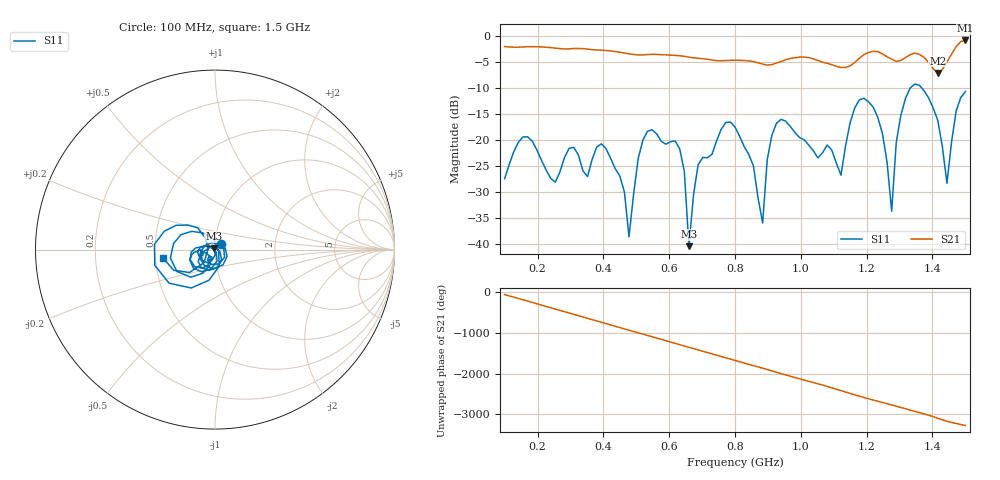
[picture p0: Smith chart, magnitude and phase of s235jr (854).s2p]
! NanoVNA-App
! Date: 2025-09-25 15:10:49
! Start: 100MHz Stop: 1,5GHz Points: 101
! S-Parameter data: F S11 S21 S12 S22
# Hz S RI R 50
!  Frequency  S11_Real  S11_Imag  S21_Real  S21_Imag  S12_Real  S12_Imag  S22_Real  S22_Imag
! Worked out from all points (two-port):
!   101 points, 100 MHz to 1.5 GHz, reference 50 ohm
!   highest |S21| = -0.78 dB at 1.5 GHz (marker M1); lowest = -7.0 dB at 1.416 GHz (marker M2)
!   |S21| within 3 dB of the highest: start of sweep to 637 MHz; 1.186 GHz to 1.258 GHz (71.79 MHz wide, 5.87 % of centre) (the widest 2 of 4)
!   lowest |S11| = -40.5 dB at 660 MHz (marker M3), VSWR 1.02, Z = 49.3 + j0.604 ohm
!   |S11| at or under -10 dB: start of sweep to 1.332 GHz; 1.368 GHz to end of sweep
!   S12 and S22 are empty: the file has one direction only
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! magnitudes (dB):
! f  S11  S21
! 100 MHz  -27.5  -2.0
! 156 MHz  -19.4  -2.0
! 338 MHz  -25.9  -2.4
! 408 MHz  -21.7  -2.7
! 478 MHz  -38.7  -3.4
! 520 MHz  -20.0  -3.6
! 576 MHz  -20.3  -3.5
! 632 MHz  -21.7  -3.7
! 660 MHz  -40.5  -4.0
! 688 MHz  -24.8  -4.2
! 800 MHz  -17.5  -4.6
! 884 MHz  -36.0  -5.3
! 926 MHz  -16.8  -5.1
! 1.038 GHz  -22.1  -4.3
! 1.122 GHz  -26.8  -6.0
! 1.192 GHz  -11.9  -3.5
! 1.248 GHz  -18.8  -3.4
! 1.276 GHz  -33.8  -4.4
! 1.332 GHz  -10.0  -3.5
! 1.416 GHz  -16.2  -7.0
! 1.444 GHz  -28.3  -4.9
! 1.5 GHz  -10.7  -0.8
